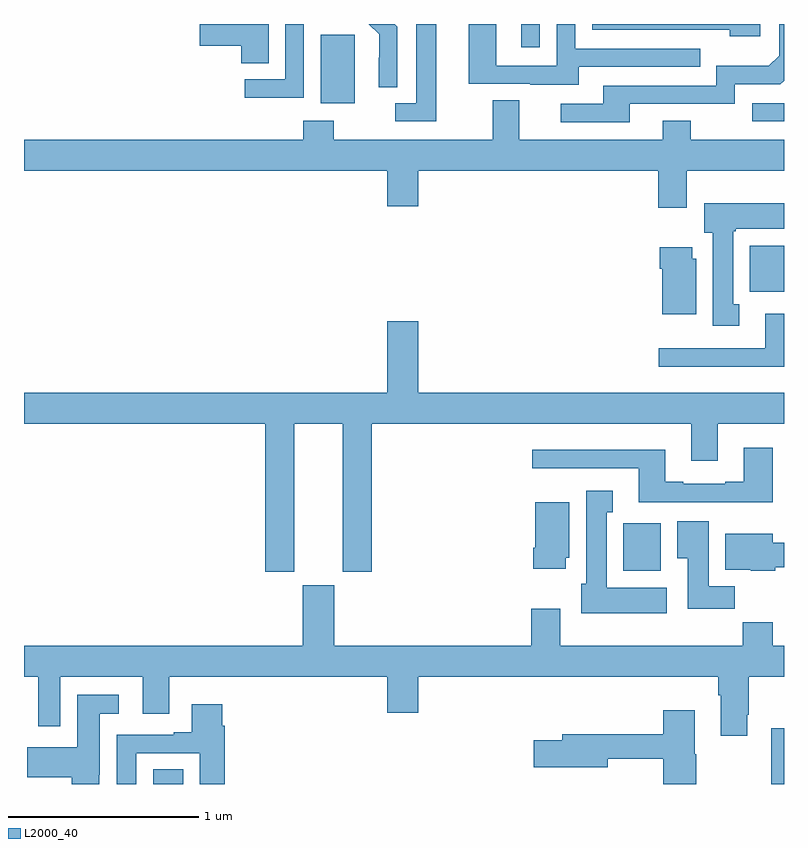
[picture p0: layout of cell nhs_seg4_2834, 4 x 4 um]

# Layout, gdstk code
import gdstk
lib = gdstk.Library(unit=1e-6, precision=1e-09)
def R(c, l, rs):  # rectangles x0, y0, x1, y1
    for r in rs: c.add(gdstk.rectangle(r[:2], r[2:], *l))
def P(c, l, *ps):  # polygons
    for p in ps: c.add(gdstk.Polygon(p, *l))
L2000_40 = (2000, 40)

nhs_seg4_2834 = lib.new_cell('nhs_seg4_2834')
R(nhs_seg4_2834, L2000_40, [(259.679,818.9,259.837,818.978), (262.932,818.9,263,819.193), (262.155,820.022,262.351,820.272), (262.82,821.492,263,821.734), (262.833,822.387,263,822.483), (260.561,822.482,260.74,822.843), (261.617,822.777,261.714,822.9)])
P(nhs_seg4_2834, L2000_40, [(260.964,822.886),(260.95,822.9),(260.814,822.9),(260.87,822.845),(260.87,822.722),(260.868,822.722),(260.868,822.568),(260.964,822.568)],
  [(262.189,822.48),(262.74,822.48),(262.74,822.582),(262.98,822.582),(263,822.602),(263,822.9),(262.974,822.9),(262.974,822.732),(262.921,822.679),(262.644,822.679),(262.644,822.576),(262.049,822.576),(262.049,822.48),(261.825,822.48),(261.825,822.384),(262.189,822.384)],
  [(261.919,822.675),(262.559,822.675),(262.559,822.771),(261.9,822.771),(261.9,822.9),(261.804,822.9),(261.804,822.681),(261.486,822.681),(261.486,822.9),(261.341,822.9),(261.341,822.585),(261.665,822.585),(261.665,822.581),(261.919,822.581)],
  [(261.169,822.9),(261.065,822.9),(261.065,822.483),(260.955,822.483),(260.955,822.387),(261.169,822.387)],
  [(260.287,822.9),(259.926,822.9),(259.926,822.785),(260.144,822.785),(260.144,822.694),(260.287,822.694)],
  [(262.876,822.9),(261.99,822.9),(261.99,822.87),(262.715,822.87),(262.715,822.836),(262.876,822.836)],
  [(260.472,822.9),(260.376,822.9),(260.376,822.609),(260.163,822.609),(260.163,822.511),(260.472,822.511)],
  [(262.489,822.128),(263,822.128),(263,822.292),(262.509,822.292),(262.509,822.391),(262.361,822.391),(262.361,822.292),(261.607,822.292),(261.607,822.5),(261.467,822.5),(261.467,822.292),(260.631,822.292),(260.631,822.391),(260.471,822.391),(260.471,822.292),(259,822.292),(259,822.128),(260.912,822.128),(260.912,821.94),(261.076,821.94),(261.076,822.128),(262.337,822.128),(262.337,821.934),(262.489,821.934)],
  [(262.765,821.426),(262.732,821.426),(262.732,821.809),(262.746,821.809),(262.746,821.822),(263,821.822),(263,821.956),(262.58,821.956),(262.58,821.802),(262.625,821.802),(262.625,821.313),(262.765,821.313)],
  [(262.537,821.664),(262.516,821.664),(262.516,821.725),(262.346,821.725),(262.346,821.612),(262.358,821.612),(262.358,821.372),(262.537,821.372)],
  [(263,821.374),(262.901,821.374),(262.901,821.193),(262.341,821.193),(262.341,821.096),(263,821.096)],
  [(260.422,820.796),(260.678,820.796),(260.678,820.017),(260.831,820.017),(260.831,820.796),(262.511,820.796),(262.511,820.602),(262.651,820.602),(262.651,820.796),(263,820.796),(263,820.96),(261.076,820.96),(261.076,821.335),(260.912,821.335),(260.912,820.96),(259,820.96),(259,820.796),(260.27,820.796),(260.27,820.017),(260.422,820.017)],
  [(262.94,820.669),(262.787,820.669),(262.787,820.492),(262.691,820.492),(262.691,820.479),(262.471,820.479),(262.471,820.492),(262.375,820.492),(262.375,820.66),(261.675,820.66),(261.675,820.563),(262.235,820.563),(262.235,820.383),(262.695,820.383),(262.695,820.382),(262.94,820.382)],
  [(262.384,819.934),(262.066,819.934),(262.066,820.331),(262.099,820.331),(262.099,820.444),(261.959,820.444),(261.959,819.954),(261.932,819.954),(261.932,819.8),(262.384,819.8)],
  [(261.85,820.092),(261.871,820.092),(261.871,820.384),(261.692,820.384),(261.692,820.144),(261.68,820.144),(261.68,820.032),(261.85,820.032)],
  [(262.742,819.94),(262.603,819.94),(262.603,820.282),(262.439,820.282),(262.439,820.088),(262.493,820.088),(262.493,819.822),(262.742,819.822)],
  [(262.955,820.041),(263,820.041),(263,820.169),(262.942,820.169),(262.942,820.216),(262.691,820.216),(262.691,820.028),(262.824,820.028),(262.824,820.022),(262.955,820.022)],
  [(262.807,819.265),(262.815,819.265),(262.815,819.464),(263,819.464),(263,819.628),(262.94,819.628),(262.94,819.752),(262.783,819.752),(262.783,819.628),(261.823,819.628),(261.823,819.823),(261.671,819.823),(261.671,819.628),(260.632,819.628),(260.632,819.945),(260.468,819.945),(260.468,819.628),(259,819.628),(259,819.464),(259.075,819.464),(259.075,819.204),(259.191,819.204),(259.191,819.464),(259.625,819.464),(259.625,819.27),(259.765,819.27),(259.765,819.464),(260.912,819.464),(260.912,819.276),(261.076,819.276),(261.076,819.464),(262.655,819.464),(262.655,819.368),(262.667,819.368),(262.667,819.153),(262.807,819.153)],
  [(259.395,818.95),(259.399,818.95),(259.399,819.269),(259.498,819.269),(259.498,819.37),(259.28,819.37),(259.28,819.094),(259.017,819.094),(259.017,818.936),(259.25,818.936),(259.25,818.9),(259.395,818.9)],
  [(259.591,819.063),(259.925,819.063),(259.925,818.9),(260.057,818.9),(260.057,819.206),(260.044,819.206),(260.044,819.319),(259.883,819.319),(259.883,819.172),(259.787,819.172),(259.787,819.159),(259.487,819.159),(259.487,818.9),(259.591,818.9)],
  [(262.539,819.057),(262.531,819.057),(262.531,819.289),(262.364,819.289),(262.364,819.163),(261.833,819.163),(261.833,819.129),(261.684,819.129),(261.684,818.987),(262.072,818.987),(262.072,819.034),(262.364,819.034),(262.364,818.9),(262.539,818.9)])

lib.write_gds('nhs_seg4_2834.gds')
